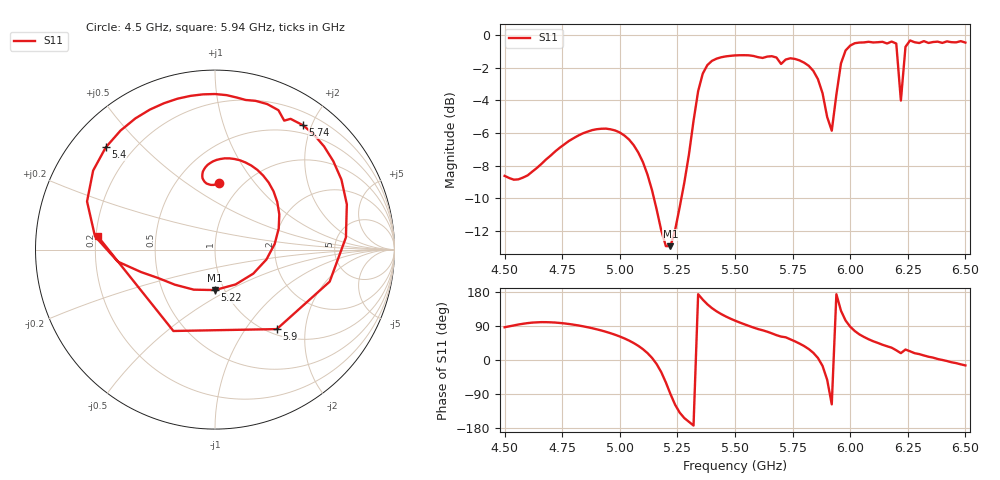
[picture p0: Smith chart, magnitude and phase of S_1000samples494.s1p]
! TOUCHSTONE file generated by CST MICROWAVE STUDIO
! Date and time: Fri Oct 28 08:50:53 2022
! Project name: L.cst
! Parameters = {Di=1.27; Epsilon_r=1.56; InnerDiameter=1.27; Length=2; Lf=10; Lg=60; OuterConductorThickness=0.2921; OuterDiameter=3.6; Wf=3; Wp=41.2; de=1.5; df=6.8; g=0.8; gx=1.06815; gy=3.16597; h=2.34; hf=1.524; px=14.1506; py=9.29272; w=9.7; wx=13.0824; wy=6.12675}
! Header version: 2018
! Port assignment regex: !\s*Touchstone port\s*([0-9]+)\s*=\s*(CST MWS port|CST DS port)\s*([0-9]+|Zmin|Zmax)\s*\(\"(.*)\"\)(\s*mode\s*([0-9]+))?.*
! Touchstone port assignment:
! Touchstone port 1 = CST MWS port 1 ("")
# GHz S DB R 50
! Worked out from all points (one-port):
!   101 points, 4.5 GHz to 6.5 GHz, reference 50 ohm
!   lowest |S11| = -12.9 dB at 5.22 GHz (marker M1), VSWR 1.58, Z = 45.1 - j21.4 ohm
!   |S11| at or under -10 dB: 5.148 GHz to 5.267 GHz (119 MHz wide, 2.29 % of centre)
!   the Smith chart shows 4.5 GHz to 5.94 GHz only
!   S11 on the Smith chart (normalised r, x): 4.5 GHz: 0.79, +0.68; 5.22 GHz: 0.90, -0.43; 5.4 GHz: 0.10, +0.39; 5.74 GHz: 0.38, +1.88; 5.9 GHz: 1.09, -1.42; 5.94 GHz: 0.21, +0.05
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4.5  -8.63 86.4
4.76  -6.69 96.5
5  -5.97 62.0
5.12  -8.54 18.3
5.22  -12.94 -90.1
5.26  -10.54 -138.9
5.34  -3.44 173.6
5.4  -1.58 136.9
5.5  -1.25 104.0
5.64  -1.32 74.7
5.74  -1.42 54.6
5.76  -1.46 49.2
5.82  -1.88 29.0
5.86  -2.70 5.3
5.88  -3.56 -15.6
5.9  -5.02 -52.1
5.92  -5.86 -117.1
5.94  -3.65 173.6
5.96  -1.73 130.0
5.98  -0.94 104.2
6  -0.65 87.9
6.06  -0.45 60.7
6.14  -0.41 40.3
6.2  -0.52 25.6
6.22  -4.01 18.1
6.24  -0.72 27.6
6.26  -0.33 22.9
6.5  -0.46 -14.3
